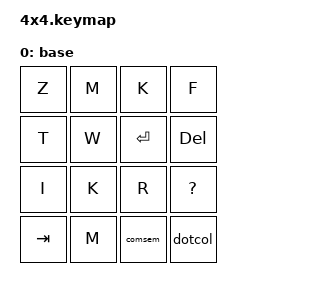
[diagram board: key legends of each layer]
/*
 * Copyright (c) 2020 The ZMK Contributors
 *
 * SPDX-License-Identifier: MIT
 */

#include <behaviors/mouse_keys.dtsi>
#include <behaviors.dtsi>
#include <dt-bindings/zmk/bt.h>
#include <dt-bindings/zmk/keys.h>
#include <dt-bindings/zmk/mouse.h>
#include <dt-bindings/zmk/outputs.h>

/* Key Position Groups

#define KEYS_L 0 1 2 3 4 10 11 12 13 14 20 21 22  // left-hand keys
#define KEYS_R 5 6 7 8 9 15 16 17 18 19 23 24 25  // right-hand keys
#define THUMBS 26 27 28 29                        // thumb keys
 */
 
/* Behavior Settings */

&sl { release-after-ms = <250>; };

&lt {
    tapping-term-ms = <240>;
    quick-tap-ms = <150>;
    require-prior-idle-ms = <10>;
    flavor = "tap-preferred";
};

&mt {
    tapping-term-ms = <250>;
    require-prior-idle-ms = <250>;
    flavor = "tap-preferred";
};

&soft_off {
    hold-time-ms = <5000>; // Only turn off it the key is held for 5 seconds or longer.
};

&sk {
    quick-release;
    release-after-ms = <600>;
};

/ {
    behaviors {
        dotcol: dot_col {
            compatible = "zmk,behavior-mod-morph";
            label = "DOT_COL";
            bindings = <&kp PERIOD>, <&kp COLON>;

            #binding-cells = <0>;
            mods = <(MOD_LSFT|MOD_RSFT)>;
        };

        comsem: comma_semicolon {
            compatible = "zmk,behavior-mod-morph";
            label = "COM_SEM";
            bindings = <&kp COMMA>, <&kp SEMI>;

            #binding-cells = <0>;
            mods = <(MOD_LSFT|MOD_RSFT)>;
        };

        shiftcap: shiftcap {
            compatible = "zmk,behavior-tap-dance";
            label = "SHIFTCAP";
            #binding-cells = <0>;
            bindings = <&sk LEFT_SHIFT>, <&caps_word>;
        };
    };

    conditional_layers { compatible = "zmk,conditional-layers"; };

    combos {
        compatible = "zmk,combos";

        /*                KEY POSITIONS

             0   1   2   3   
             4   5   6   7
             8   9  10  11  
            12  13  14  15
            */
            
        /* Letters */

        v {
            key-positions = <1 2>;
            bindings = <&kp V>;
        };

        qu {
            key-positions = <2 3>;
            bindings = <&qu>;
        };

        z {
            key-positions = <20 21>;
            bindings = <&kp Z>;
        };

        q {
            bindings = <&kp Q>;
            key-positions = <22 21>;
        };

        /* Brackets */

        lbkt {
            key-positions = <2 12>;
            bindings = <&kp LBKT>;
        };

        rbkt {
            key-positions = <7 17>;
            bindings = <&kp RBKT>;
        };

        lpar {
            key-positions = <3 13>;
            bindings = <&kp LPAR>;
        };

        rpar {
            key-positions = <6 16>;
            bindings = <&kp RPAR>;
        };

        lbrc {
            key-positions = <1 11>;
            bindings = <&kp LBRC>;
        };

        rbrc {
            key-positions = <18 8>;
            bindings = <&kp RBRC>;
        };

        /* Convenience */

        fwslah {
            bindings = <&kp SLASH>;
            key-positions = <24 25>;
        };

        bkslash {
            bindings = <&kp BACKSLASH>;
            key-positions = <23 24>;
        };

        apos {
            bindings = <&kp APOS>;
            key-positions = <8 7>;
        };

        grave {
            bindings = <&kp GRAVE>;
            key-positions = <6 7>;
        };

        off {
            bindings = <&soft_off>;
            key-positions = <25 24 23>;
        };

        boot {
            bindings = <&bootloader>;
            key-positions = <22 21 20>;
        };

        delete {
            bindings = <&kp DELETE>;
            key-positions = <11 12 13>;
        };

        backspace {
            bindings = <&kp BACKSPACE>;
            key-positions = <16 18 17>;
        };

        tab {
            bindings = <&kp TAB>;
            key-positions = <13 11>;
        };

        enter {
            bindings = <&kp ENTER>;
            key-positions = <16 18>;
        };

        less {
            bindings = <&kp LESS_THAN>;
            key-positions = <4 14>;
        };

        more {
            bindings = <&kp GREATER_THAN>;
            key-positions = <5 15>;
        };

        shiftl {
            bindings = <&sk LEFT_SHIFT>;
            key-positions = <13 12>;
        };

        shiftr {
            bindings = <&sk RIGHT_SHIFT>;
            key-positions = <16 17>;
        };

        capsword {
            bindings = <&caps_word>;
            key-positions = <13 16>;
        };

        playpause {
            bindings = <&kp C_PLAY_PAUSE>;
            key-positions = <5 15>;
            layers = <3 1>;
        };
    };

    macros {
        qu: qu {
            compatible = "zmk,behavior-macro";
            #binding-cells = <0>;
            bindings = <&kp Q &kp U>;
            label = "QU";
        };
    };

    keymap {
        compatible = "zmk,keymap";

        base {
            bindings = <
&kp Z             &kp M               &kp K           &kp F           
&kp T             &kp W               &kp ENTER       &kp DEL
&kp I             &kp K               &kp R           &kp QUESTION
&kp TAB           &kp M               &comsem         &dotcol
                       >;
        };
    };
};
